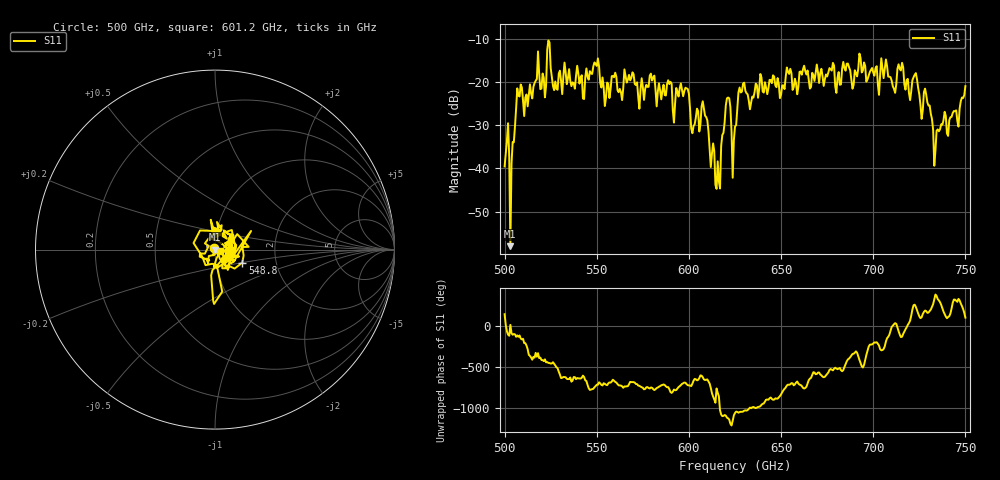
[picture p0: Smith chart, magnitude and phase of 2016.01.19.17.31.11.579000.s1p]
!Created with skrf (http://scikit-rf.org).
# GHz S RI R 50.0
!freq ReS11 ImS11
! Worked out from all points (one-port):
!   401 points, 500 GHz to 750 GHz, reference 50 ohm
!   lowest |S11| = -58.0 dB at 503.1 GHz (marker M1), VSWR 1.00, Z = 50.1 + j0.023 ohm
!   |S11| at or under -10 dB: start of sweep to end of sweep
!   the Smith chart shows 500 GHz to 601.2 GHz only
!   S11 on the Smith chart (normalised r, x): 500 GHz: 0.98, +0.01; 548.8 GHz: 1.34, -0.20; 601.2 GHz: 1.06, -0.01
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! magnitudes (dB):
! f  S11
! 500 GHz  -39.5
! 503.1 GHz  -58.0
! 504.4 GHz  -33.9
! 508.1 GHz  -23.3
! 521.2 GHz  -19.0
! 524.4 GHz  -10.9
! 527.5 GHz  -19.9
! 531.2 GHz  -22.8
! 548.8 GHz  -15.5
! 562.5 GHz  -21.6
! 568.8 GHz  -19.1
! 593.8 GHz  -22.2
! 598.8 GHz  -21.5
! 601.2 GHz  -30.8
! 608.1 GHz  -26.1
! 615.6 GHz  -38.4
! 621.2 GHz  -23.6
! 625 GHz  -30.3
! 628.8 GHz  -22.2
! 656.2 GHz  -21.8
! 687.5 GHz  -17.3
! 705.6 GHz  -19.1
! 711.2 GHz  -21.6
! 715 GHz  -17.3
! 718.8 GHz  -19.3
! 728.8 GHz  -23.0
! 734.4 GHz  -31.3
! 750 GHz  -20.9
